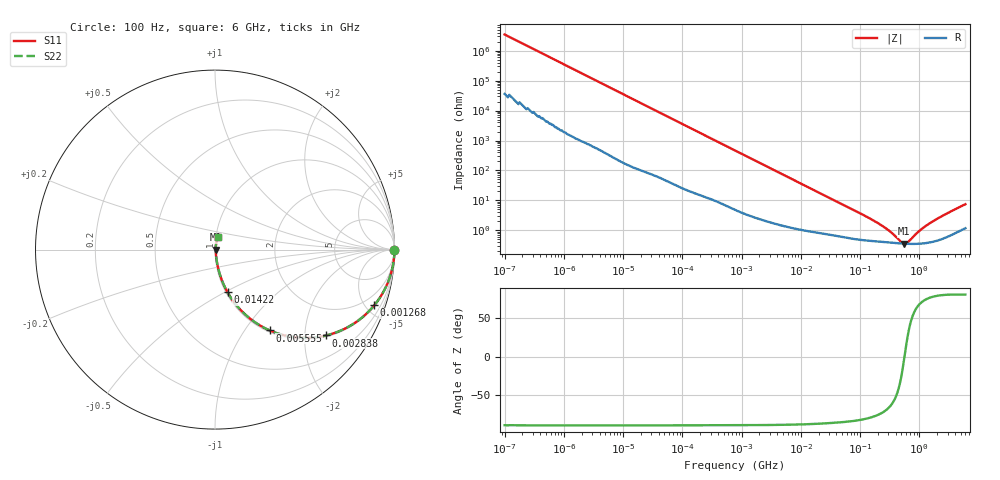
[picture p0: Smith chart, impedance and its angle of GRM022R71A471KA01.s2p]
!Murata Part Number: GRM022R71A471KA01
!These Parameters are Measured in Series Mode Connection
!Data Generated on Mar 30, 2021
!  o--ll--o
!Port1  Port2
!  o------o
!Operation Temp=25[degC], DC Bias Voltage=0[V]
!Freq. Start=100[Hz] Stop=6[GHz] 401[Steps]
# Hz S RI R 50
!Freq.(Hz) S11(Real) S11(Imag) S21(Real) S21(Imag) S12(Real) S12(Imag) S22(Real) S22(Imag)
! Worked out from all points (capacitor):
!   401 points, 100 Hz to 6 GHz, reference 50 ohm
!   read as one part in series: C = 457 pF near 109 Hz
!   lowest |Z| = 360 mohm at 559.2 MHz (marker M1)
!   series resonance near 562.8 MHz, so ESL is about 170 pH
!   S11 on the Smith chart (normalised r, x): 100 Hz: open; 1.268 MHz: 1.06, -5.70; 2.838 MHz: 1.04, -2.56; 5.555 MHz: 1.03, -1.31; 14.22 MHz: 1.02, -0.52; 6 GHz: 1.02, +0.15
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100  1 -2.88e-05  3e-07 2.88e-05  3e-07 2.88e-05  1 -2.88e-05
350  1 -0.0001  7e-07 0.0001  7e-07 0.0001  1 -0.0001
2008  1 -0.000572  3.4e-06 0.000572  3.4e-06 0.000572  1 -0.000572
40335  0.9998 -0.0114  0.000205 0.0114  0.000205 0.0114  0.9998 -0.0114
241822  0.9949 -0.0672  0.00514 0.0672  0.00514 0.0672  0.9949 -0.0672
774597  0.9538 -0.2047  0.0462 0.2047  0.0462 0.2047  0.9538 -0.2047
1267578  0.8875 -0.3103  0.1125 0.3103  0.1125 0.3103  0.8875 -0.3103
1896632  0.7816 -0.4068  0.2184 0.4068  0.2184 0.4068  0.7816 -0.4068
2837864  0.6187 -0.4783  0.3813 0.4783  0.3813 0.4783  0.6187 -0.4783
5554849  0.3048 -0.4502  0.6952 0.4502  0.6952 0.4502  0.3048 -0.4502
8692127  0.157 -0.351  0.843 0.351  0.843 0.351  0.157 -0.351
1.422411e7  0.0701 -0.2381  0.9299 0.2381  0.9299 0.2381  0.0701 -0.2381
1.555665e7  0.0605 -0.2202  0.9395 0.2202  0.9395 0.2202  0.0605 -0.2202
3.80911e7  0.0159 -0.0957  0.9841 0.0957  0.9841 0.0957  0.0159 -0.0957
1.220122e8  0.0055 -0.0297  0.9945 0.0297  0.9945 0.0297  0.0055 -0.0297
3.124326e8  0.004 -0.00869  0.996 0.00869  0.996 0.00869  0.004 -0.00869
4.888888e8  0.00365 -0.00201  0.9964 0.00201  0.9964 0.00201  0.00365 -0.00201
5.59173e8  0.00358 -9.08e-05  0.9964 9.08e-05  0.9964 9.08e-05  0.00358 -9.08e-05
6.395615e8  0.00354 0.00184  0.9965 -0.00184  0.9965 -0.00184  0.00354 0.00184
1.000774e9  0.00364 0.00883  0.9964 -0.00883  0.9964 -0.00883  0.00364 0.00883
1.565993e9  0.00431 0.0176  0.9957 -0.0176  0.9957 -0.0176  0.00431 0.0176
6e9  0.0169 0.0718  0.9831 -0.0718  0.9831 -0.0718  0.0169 0.0718
